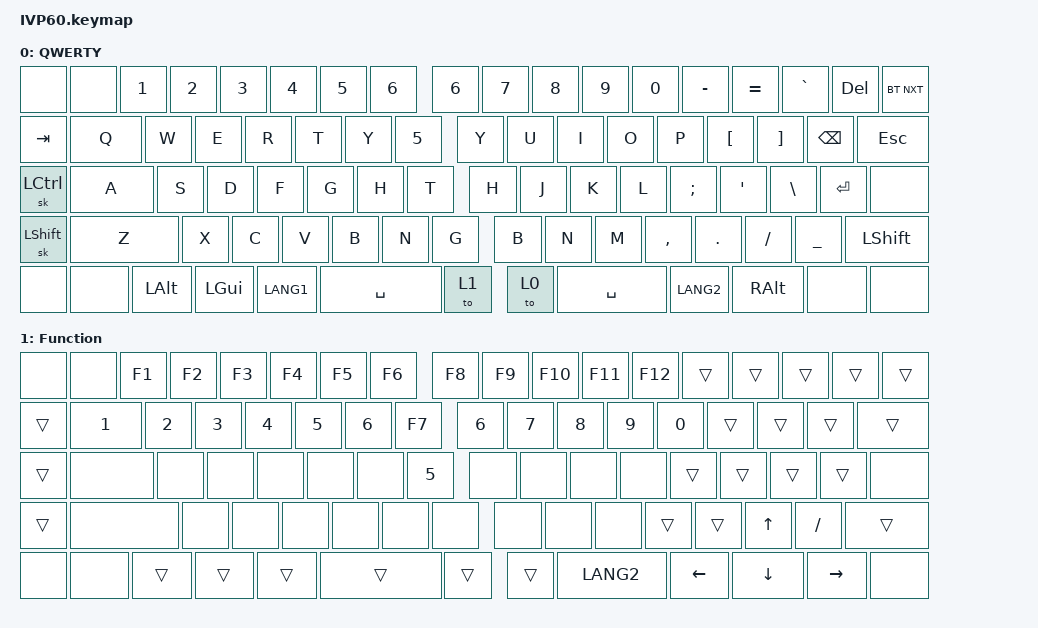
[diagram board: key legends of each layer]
/*
 * Copyright (c) 2022 The ZMK Contributors
 *
 * SPDX-License-Identifier: MIT
 */

#include <behaviors.dtsi>
#include <dt-bindings/zmk/keys.h>
#include <dt-bindings/zmk/bt.h>
#include <dt-bindings/zmk/rgb.h>

/ {
	keymap {
		compatible = "zmk,keymap";
		
		default_layer { // Layer 0
			
			display-name = "QWERTY";
			
				// [     ] [     ] [  1  ] [  2  ] [  3  ] [  4  ] [  5  ] [  6  ]                     [  5  ] [  6  ] [  7  ] [  8  ] [  9  ] [  0  ] [  -  ] [  =  ] [  `  ] [ DEL ]
				// [BTNXT] [   TAB   ] [  Q  ] [  W  ] [  E  ] [  R  ] [  T  ] [  Y  ]                     [  T  ] [  Y  ] [  U  ] [  I  ] [  O  ] [  P  ] [  [  ] [  ]  ] [  BSPC   ]
				// [ ESC ] [   LCTRL    ] [  A  ] [  S  ] [  D  ] [  F  ] [  G  ] [  H  ]                    [  G  ] [  H  ] [  J  ] [  K  ] [  L  ] [  ;  ] [  '  ] [  \  ] [ ENTER ]
				// [     ] [     LSHIFT     ] [  Z  ] [  X  ] [  C  ] [  V  ] [  B  ] [  N  ]                    [  B  ] [  N  ] [  M  ] [  ,  ] [  .  ] [  /  ] [  _  ] [  RSHIFT   ]
				// [     ] [        ] [   LALT   ] [ WIN ] [ AISU ] [      SPACE      ] [ AGE ]                    [ SAGE ] [     SPACE    ] [ KANA ] [   RALT    ] [      ] [       ]
			
			bindings = <
				&none      &none     &kp  N1  &kp  N2  &kp  N3   &kp  N4   &kp  N5  &kp  N6       /* N5 */  &kp  N6  &kp N7  &kp  N8  &kp  N9   &kp N0     &kp MINUS  &kp EQUAL  &kp GRAVE  &kp DEL
				&bt BT_NXT &kp TAB   &kp  Q   &kp  W   &kp  E    &kp  R    &kp  T   &kp  Y                  &kp  N5  &kp Y   &kp  U   &kp  I    &kp O      &kp P      &kp LBKT   &kp RBKT   &kp BSPC
				&kp ESC    &sk LCTRL &kp  A   &kp  S   &kp  D    &kp  F    &kp  G   &kp  H                  &kp  T   &kp H   &kp  J   &kp  K    &kp L      &kp SEMI   &kp SQT    &kp BSLH   &kp RET
				&none      &sk LSHFT &kp  Z   &kp  X   &kp  C    &kp  V    &kp  B   &kp  N                  &kp  G   &kp B   &kp  N   &kp  M    &kp COMMA  &kp DOT    &kp FSLH   &kp UNDER  &kp LSHFT
				&none      &none     &kp LALT &kp LGUI &kp LANG1 &kp SPACE &to 1                                                      &to  0    &kp SPACE  &kp LANG2  &kp RALT   &none      &none
			>;
			
		};
		
		function_layer { // Layer 1
			
			display-name = "Function";
			
				// [     ] [     ] [ F1  ] [ F2  ] [ F3  ] [ F4  ] [ F5  ] [ F6  ]                     [ F7  ] [ F8  ] [ F9  ] [ F10 ] [ F11 ] [ F12 ] [  -  ] [  =  ] [  `  ] [ DEL ]
				// [BTNXT] [   TAB   ] [  1  ] [  2  ] [  3  ] [  4  ] [  5  ] [  6  ]                     [  5  ] [  6  ] [  7  ] [  8  ] [  9  ] [  0  ] [  [  ] [  ]  ] [  BSPC   ]
				// [ ESC ] [   LCTRL    ] [     ] [     ] [     ] [     ] [     ] [     ]                    [     ] [     ] [     ] [     ] [     ] [  ;  ] [  '  ] [  \  ] [ ENTER ]
				// [     ] [     LSHIFT     ] [     ] [     ] [     ] [     ] [     ] [     ]                    [     ] [     ] [     ] [  ,  ] [  .  ] [ UP  ] [  /  ] [  RSHIFT   ]
				// [     ] [        ] [   LALT   ] [ WIN ] [ AISU ] [      SPACE      ] [ AGE ]                    [ SAGE ] [      KANA     ] [ LEFT ] [   DOWN   ] [ RIGHT ] [      ]
			
			bindings = <
				&none      &none     &kp  F1  &kp  F2  &kp  F3   &kp  F4   &kp  F5  &kp  F6       /* F7 */  &kp  F8  &kp F9  &kp  F10 &kp  F11  &kp F12    &trans     &trans     &trans     &trans 
				&trans     &trans    &kp  N1  &kp  N2  &kp  N3   &kp  N4   &kp  N5  &kp  N6                 &kp  F7  &kp N6  &kp  N7  &kp  N8   &kp N9     &kp N0     &trans     &trans     &trans  
				&trans     &trans    &none    &none    &none     &none     &none    &none                   &kp  N5  &none   &none    &none     &none      &trans     &trans     &trans     &trans 
				&none      &trans    &none    &none    &none     &none     &none    &none                   &none    &none   &none    &none     &trans     &trans     &kp UP     &kp FSLH   &trans   
				&none      &none     &trans   &trans   &trans    &trans    &trans                                                     &trans    &kp LANG2  &kp LEFT   &kp DOWN   &kp RIGHT  &none
			>;
			
		};
		
	};
};
